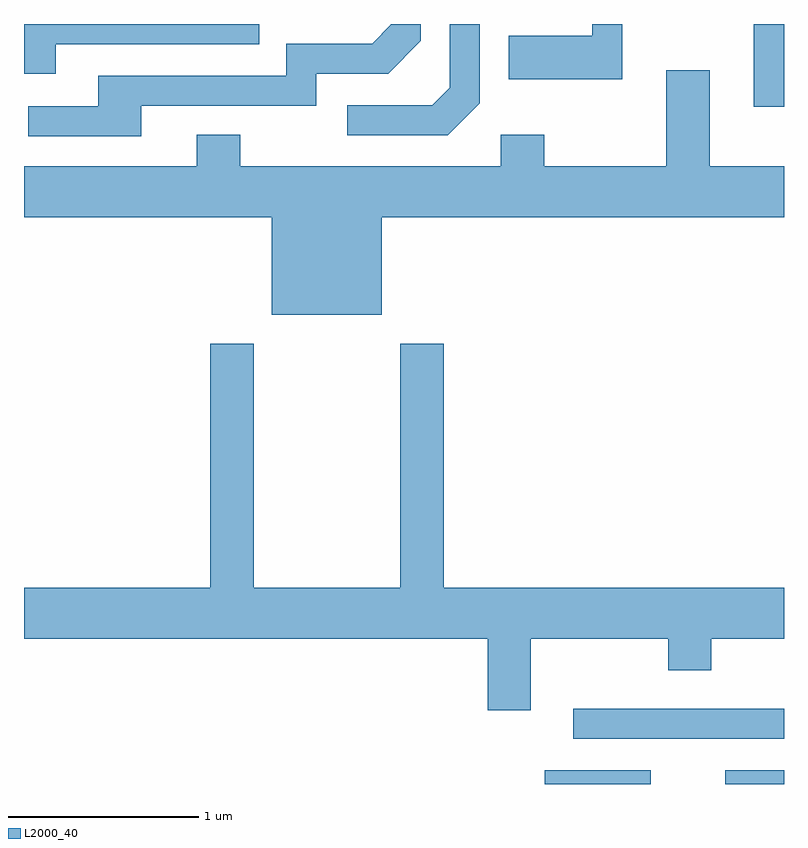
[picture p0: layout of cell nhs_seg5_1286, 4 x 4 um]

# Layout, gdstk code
import gdstk
lib = gdstk.Library(unit=1e-6, precision=1e-09)
def R(c, l, rs):  # rectangles x0, y0, x1, y1
    for r in rs: c.add(gdstk.rectangle(r[:2], r[2:], *l))
def P(c, l, *ps):  # polygons
    for p in ps: c.add(gdstk.Polygon(p, *l))
L2000_40 = (2000, 40)

nhs_seg5_1286 = lib.new_cell('nhs_seg5_1286')
R(nhs_seg5_1286, L2000_40, [(226.351,1416.072,226.909,1416.144), (227.301,1416.072,227.611,1416.144), (226.503,1416.311,227.611,1416.469), (227.451,1419.636,227.611,1420.072)])
P(nhs_seg5_1286, L2000_40, [(224.229,1419.641),(225.149,1419.641),(225.149,1419.811),(225.527,1419.811),(225.699,1419.984),(225.699,1420.072),(225.541,1420.072),(225.541,1420.067),(225.444,1419.969),(224.991,1419.969),(224.991,1419.799),(224.001,1419.799),(224.001,1419.639),(223.633,1419.639),(223.633,1419.481),(224.229,1419.481)],
  [(223.779,1419.966),(224.848,1419.966),(224.848,1420.072),(223.611,1420.072),(223.611,1419.811),(223.779,1419.811)],
  [(226.009,1419.654),(226.009,1420.072),(225.851,1420.072),(225.851,1419.737),(225.759,1419.644),(225.313,1419.644),(225.313,1419.486),(225.842,1419.486)],
  [(226.759,1420.072),(226.601,1420.072),(226.601,1420.009),(226.161,1420.009),(226.161,1419.781),(226.759,1419.781)],
  [(225.494,1419.056),(227.611,1419.056),(227.611,1419.324),(227.219,1419.324),(227.219,1419.829),(226.991,1419.829),(226.991,1419.324),(226.349,1419.324),(226.349,1419.489),(226.121,1419.489),(226.121,1419.324),(224.749,1419.324),(224.749,1419.489),(224.521,1419.489),(224.521,1419.324),(223.611,1419.324),(223.611,1419.056),(224.916,1419.056),(224.916,1418.541),(225.494,1418.541)],
  [(226.279,1416.836),(227.001,1416.836),(227.001,1416.671),(227.229,1416.671),(227.229,1416.836),(227.611,1416.836),(227.611,1417.104),(225.819,1417.104),(225.819,1418.389),(225.591,1418.389),(225.591,1417.104),(224.819,1417.104),(224.819,1418.389),(224.591,1418.389),(224.591,1417.104),(223.611,1417.104),(223.611,1416.836),(226.051,1416.836),(226.051,1416.461),(226.279,1416.461)])

lib.write_gds('nhs_seg5_1286.gds')
